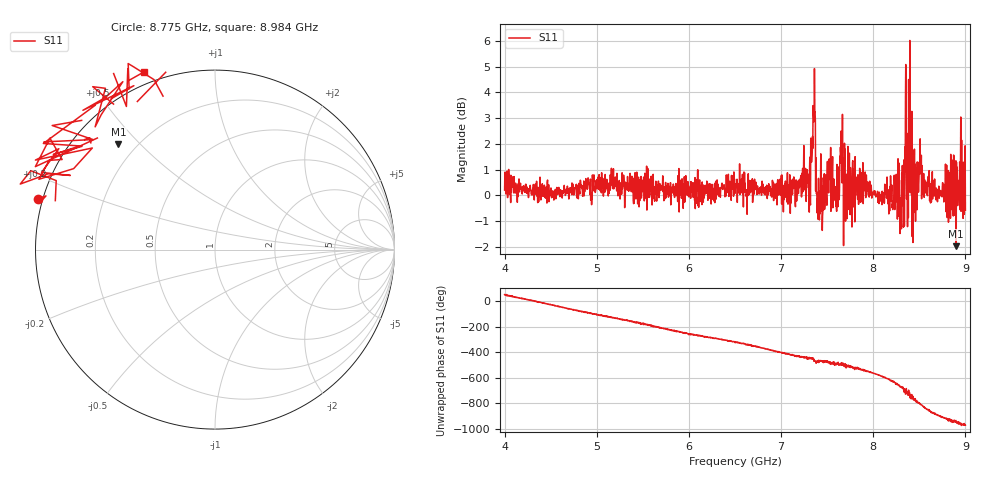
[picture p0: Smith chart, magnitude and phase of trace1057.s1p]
! Created with skrf 1.8.0 (http://scikit-rf.org).
# Hz S RI R 50.0
!freq ReS11 ImS11
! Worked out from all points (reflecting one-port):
!   1601 points, 4 GHz to 9 GHz, reference 50 ohm
!   lowest |S11| = -2.0 dB at 8.9 GHz (marker M1), VSWR 8.86, Z = 6.72 + j21.7 ohm
!   phase of S11 starts at 54 deg and turns -1025 deg over the sweep
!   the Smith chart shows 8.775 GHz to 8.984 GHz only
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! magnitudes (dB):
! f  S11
! 4 GHz  0.2
! 4.625 GHz  -0.1
! 5.25 GHz  0.2
! 5.875 GHz  0.3
! 6.5 GHz  0.1
! 7.125 GHz  0.0
! 7.294 GHz  0.8
! 7.319 GHz  -0.4
! 7.347 GHz  3.5
! 7.372 GHz  2.9
! 7.4 GHz  -0.1
! 7.472 GHz  -0.5
! 7.534 GHz  0.6
! 7.609 GHz  0.4
! 7.669 GHz  1.0
! 7.697 GHz  -0.4
! 7.75 GHz  -0.2
! 8.253 GHz  -0.1
! 8.312 GHz  0.4
! 8.334 GHz  1.4
! 8.347 GHz  0.9
! 8.375 GHz  2.4
! 8.447 GHz  1.8
! 8.503 GHz  0.8
! 8.697 GHz  -0.2
! 8.9 GHz  -2.0
! 8.972 GHz  0.1
! 9 GHz  -0.6
